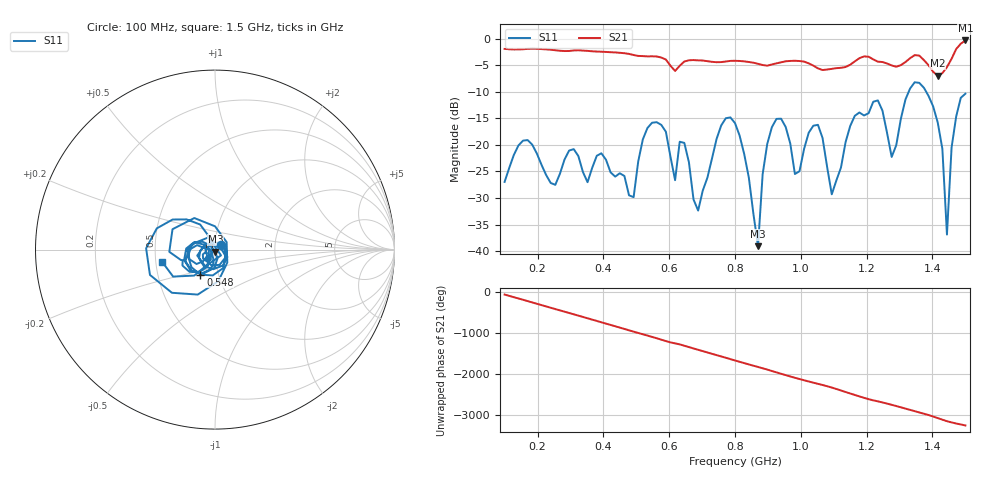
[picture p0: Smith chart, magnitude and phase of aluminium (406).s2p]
! NanoVNA-App
! Date: 2025-09-25 14:58:26
! Start: 100MHz Stop: 1,5GHz Points: 101
! S-Parameter data: F S11 S21 S12 S22
# Hz S RI R 50
!  Frequency  S11_Real  S11_Imag  S21_Real  S21_Imag  S12_Real  S12_Imag  S22_Real  S22_Imag
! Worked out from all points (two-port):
!   101 points, 100 MHz to 1.5 GHz, reference 50 ohm
!   highest |S21| = -0.33 dB at 1.5 GHz (marker M1); lowest = -7.0 dB at 1.416 GHz (marker M2)
!   |S21| within 3 dB of the highest: start of sweep to 533.6 MHz; 1.461 GHz to end of sweep (the widest 2 of 4)
!   lowest |S11| = -39.1 dB at 870 MHz (marker M3), VSWR 1.02, Z = 50.2 - j1.09 ohm
!   |S11| at or under -10 dB: start of sweep to 1.328 GHz; 1.381 GHz to end of sweep
!   S12 and S22 are empty: the file has one direction only
!   S11 on the Smith chart (normalised r, x): 100 MHz: 1.07, +0.06; 548 MHz: 0.82, -0.23; 1.5 GHz: 0.54, -0.08
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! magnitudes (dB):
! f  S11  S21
! 100 MHz  -27.0  -1.9
! 156 MHz  -19.2  -2.0
! 338 MHz  -25.1  -2.2
! 492 MHz  -29.8  -3.1
! 548 MHz  -15.8  -3.3
! 576 MHz  -16.2  -3.5
! 618 MHz  -26.6  -6.1
! 646 MHz  -19.6  -4.3
! 688 MHz  -32.4  -4.1
! 800 MHz  -15.9  -4.2
! 870 MHz  -39.1  -4.7
! 912 MHz  -16.7  -4.9
! 982 MHz  -25.5  -4.2
! 1.038 GHz  -16.4  -5.1
! 1.094 GHz  -29.3  -5.7
! 1.22 GHz  -11.9  -3.9
! 1.276 GHz  -22.3  -5.0
! 1.346 GHz  -8.2  -3.1
! 1.416 GHz  -15.8  -7.0
! 1.444 GHz  -36.9  -5.4
! 1.458 GHz  -20.5  -3.8
! 1.5 GHz  -10.4  -0.3
